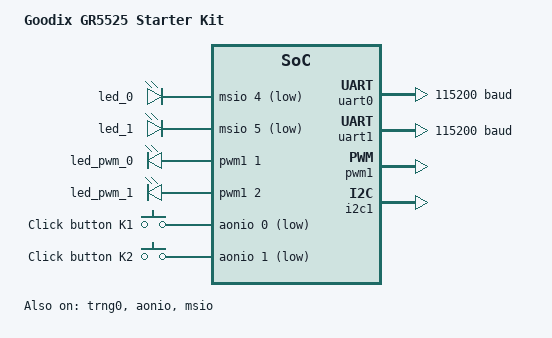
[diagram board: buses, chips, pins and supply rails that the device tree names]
/*
 * Copyright (c) 2024, Goodix
 *
 * SPDX-License-Identifier: Apache-2.0
 */

/dts-v1/;

#include <goodix/gr5525.dtsi>
#include <dt-bindings/gpio/gpio.h>
#include <dt-bindings/pwm/pwm.h>
#include "gr5525_sk-pinctrl.dtsi"

/ {
    model = "Goodix GR5525 Starter Kit";
    compatible = "goodix,gr5525_sk";

    chosen {
        zephyr,console = &uart0;
        zephyr,shell-uart = &uart0;
        zephyr,sram = &sram0;
        zephyr,flash = &flash0;
        zephyr,code-partition = &slot0;
        zephyr,bt-hci = &bt_hci;
        zephyr,entropy = &trng0;
    };

    leds {
        compatible = "gpio-leds";
        led_0: led_0 {
            gpios = <&msio 4 GPIO_ACTIVE_LOW>;
        };
        led_1: led_1 {
            gpios = <&msio 5 GPIO_ACTIVE_LOW>;
        };
    };

    pwmleds {
        compatible = "pwm-leds";

        led_pwm_0: led_pwm_0 {
            pwms = <&pwm1 1 PWM_USEC(20) PWM_POLARITY_INVERTED>;
        };

        led_pwm_1: led_pwm_1 {
            pwms = <&pwm1 2 PWM_USEC(20) PWM_POLARITY_INVERTED>;
        };
    };

    buttons {
        compatible = "gpio-keys";
        button_0: button_0 {
            gpios = <&aonio 0 (GPIO_PULL_UP | GPIO_ACTIVE_LOW)>;
            label = "Click button K1";
        };
        button_1: button_1 {
            gpios = <&aonio 1 (GPIO_PULL_UP | GPIO_ACTIVE_LOW)>;
            label = "Click button K2";
        };
    };

    bt_hci: bt_hci {
        compatible = "goodix,bt_hci";
        status = "okay";
    };

    aliases {
        led0 = &led_0;
        led1 = &led_1;
        pwmled0 = &led_pwm_0;
        pwmled1 = &led_pwm_1;
        sw0 = &button_0;
        sw1 = &button_1;
        commuart = &uart1;
    };
};

&trng0 {
	status = "okay";
};

&gpioa {
	status = "okay";
};

&gpiob {
	status = "okay";
};

&gpioc {
	status = "okay";
};

&aonio {
	status = "okay";
};

&msio {
	status = "okay";
};

&uart0 {
    pinctrl-0 = <&uart0_tx &uart0_rx>;
    current-speed = <115200>;
    pinctrl-names = "default";
    status = "okay";
};

&uart1 {
    pinctrl-0 = <&uart1_tx &uart1_rx>;
    current-speed = <115200>;
    pinctrl-names = "default";
    status = "okay";
};

&pwm1 {
	pinctrl-0 = <&pwm1_channel_b &pwm1_channel_c>;
	pinctrl-names = "default";
	status = "okay";
};

&i2c1 {
    pinctrl-0 = <&i2c1_scl &i2c1_sda>;
    pinctrl-names = "default";
    status = "okay";
};

&flash0 {
    partitions {
        compatible = "fixed-partitions";

        #address-cells = <1>;
        #size-cells = <1>;

        // Goodix bootloader, do not overwrite
        boot: partition@0 {
            label = "boot";
            read-only;
            reg = <0x0 0x00002000>;
        };

        // Zephyr Image
        slot0: partition@2000 {
            label = "slot0";
            // TODO: configurable image size
            reg = <0x00002000 0x000ee000>;
        };

        // storage
        storage_partition: partition@f0000 {
            label = "storage";
            // TODO: configurable storage size
            reg = <0x000f0000 0x0000e000>;
        };

        // NVDS, internally used by SDK
        nvds: partition@fe000 {
            label = "nvds";
            reg = <0x000fe000 0x00002000>;
        };
    };
};

